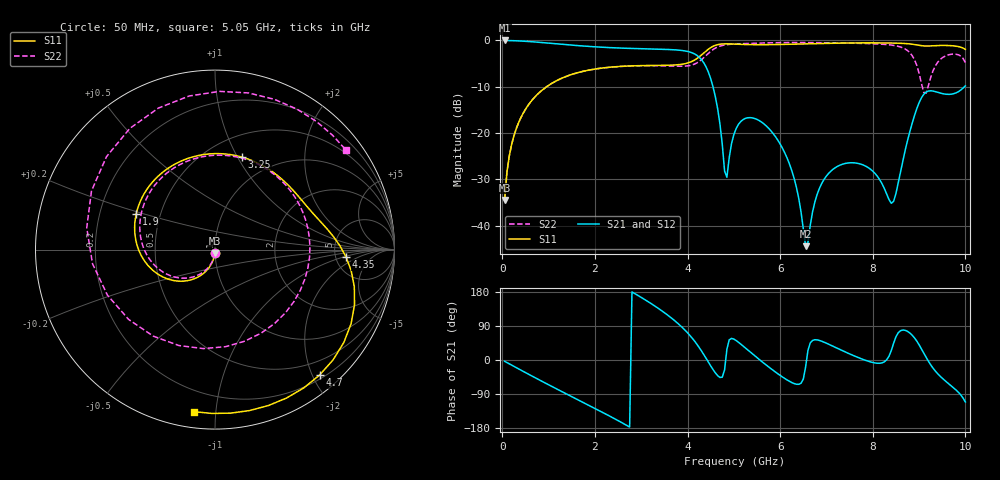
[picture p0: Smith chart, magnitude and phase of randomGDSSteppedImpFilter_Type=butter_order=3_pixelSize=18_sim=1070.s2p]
! freq	dB(S11)	phase(S11)	dB(S12)	phase(S12)
!  dB(S21)	phase(S21)	dB(S22)	phase(S22)
!S-par simulation data
#  GHz  S  DB  R 50
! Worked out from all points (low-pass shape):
!   200 points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, 50 MHz to 10 GHz, reference 50 ohm
!   highest |S21| = -0.01 dB at 50 MHz (marker M1); lowest = -44.4 dB at 6.55 GHz (marker M2)
!   |S21| within 3 dB of the highest: start of sweep to 4.168 GHz
!   lowest |S11| = -34.5 dB at 50 MHz (marker M3), VSWR 1.04, Z = 49.9 - j1.89 ohm
!   |S11| at or under -10 dB: start of sweep to 955.8 MHz
!   |S22| runs from -34.5 to -0.5 dB; largest |S21 - S12| = 0
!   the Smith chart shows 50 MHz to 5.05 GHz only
!   S11 on the Smith chart (normalised r, x): 50 MHz: 1.00, -0.04; 1.9 GHz: 0.36, +0.19; 3.25 GHz: 0.72, +1.04; 4.35 GHz: 6.24, -1.07; 4.7 GHz: 0.26, -2.11; 5.05 GHz: 0.08, -0.88
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0.05  -34.45 -92.8  -0.01 -3.4  -0.01 -3.4  -34.46 -93.2
0.5  -14.87 -121.9  -0.19 -33.2  -0.19 -33.2  -14.88 -125.6
1.75  -6.66 164.4  -1.21 -112.1  -1.21 -112.1  -6.66 150.2
1.9  -6.35 155.9  -1.32 -121.4  -1.32 -121.4  -6.35 140.1
3.25  -5.40 73.7  -1.85 146.0  -1.85 146.0  -5.46 38.1
3.4  -5.39 63.6  -1.90 133.6  -1.90 133.6  -5.48 23.6
3.9  -5.11 30.2  -2.20 84.3  -2.20 84.3  -5.56 -41.8
4.35  -2.73 -3.1  -4.82 14.5  -4.82 14.5  -3.73 -157.1
4.7  -0.82 -50.2  -18.03 -46.1  -18.03 -46.1  -1.23 99.6
4.85  -0.74 -71.1  -29.51 28.2  -29.51 28.2  -0.91 68.4
5.05  -0.81 -97.4  -19.01 51.4  -19.01 51.4  -0.76 37.2
5.75  -0.91 173.2  -18.95 -18.2  -18.95 -18.2  -0.52 -31.3
6.25  -0.82 110.3  -28.07 -59.5  -28.07 -59.5  -0.46 -65.2
6.55  -0.74 75.3  -44.39 -18.3  -44.39 -18.3  -0.46 -82.9
6.7  -0.70 59.1  -36.99 51.7  -36.99 51.7  -0.47 -91.2
7.4  -0.56 -4.8  -26.56 21.6  -26.56 21.6  -0.56 -127.8
8.35  -0.56 -66.1  -34.33 9.9  -34.33 9.9  -0.94 176.2
8.85  -0.81 -91.8  -17.90 65.6  -17.90 65.6  -3.26 113.3
9.05  -1.13 -100.1  -12.40 29.6  -12.40 29.6  -9.24 39.9
9.3  -1.16 -108.4  -10.93 -21.3  -10.93 -21.3  -6.58 -117.4
9.65  -1.11 -122.7  -11.63 -63.7  -11.63 -63.7  -3.07 -179.9
10  -1.92 -137.2  -9.81 -110.8  -9.81 -110.8  -4.80 135.7
